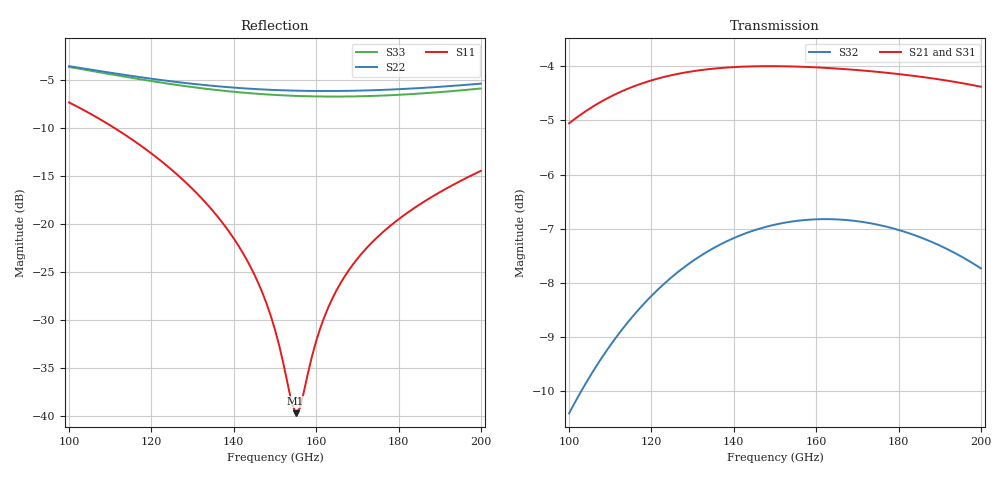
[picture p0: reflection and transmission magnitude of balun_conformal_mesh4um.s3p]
! Created with skrf 2.1.0 (http://scikit-rf.org).
# GHz S DB R 50.0
! Port[1] = P1
! Port[2] = P2
! Port[3] = P3
!freq dBS11 angS11 dBS12 angS12 dBS13 angS13
! dBS21 angS21 dBS22 angS22 dBS23 angS23
! dBS31 angS31 dBS32 angS32 dBS33 angS33
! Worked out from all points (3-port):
!   101 points, 100 GHz to 200 GHz, reference 50 ohm
!   strongest paths, dB at 100 GHz, 125 GHz, 150 GHz, 175 GHz, 200 GHz:
!     S21: -5.1, -4.2, -4.0, -4.1, -4.4
!     S31: -5.2, -4.2, -4.0, -4.1, -4.3
!     S32: -10.4, -7.9, -6.9, -6.9, -7.7
!   lowest |S11| = -39.8 dB at 155 GHz (marker M1), VSWR 1.02, Z = 51 - j0.0654 ohm
!   |S11| at or under -10 dB: 110.9 GHz to end of sweep
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100  -7.36 137.0  -5.05 -3.9  -5.16 173.5
     -5.05 -3.9  -3.58 62.6  -10.41 95.3
     -5.16 173.5  -10.41 95.3  -3.66 53.7
115  -11.14 115.4  -4.39 -26.2  -4.47 150.0
     -4.39 -26.2  -4.58 48.5  -8.66 73.6
     -4.47 150.0  -8.66 73.6  -4.78 38.0
133  -17.74 93.2  -4.06 -50.6  -4.11 124.4
     -4.06 -50.6  -5.55 34.0  -7.45 49.6
     -4.11 124.4  -7.45 49.6  -5.92 22.0
143  -23.66 80.1  -4.00 -63.2  -4.04 111.1
     -4.00 -63.2  -5.90 26.7  -7.08 37.1
     -4.04 111.1  -7.08 37.1  -6.37 14.2
150  -31.06 62.5  -4.00 -71.7  -4.03 102.2
     -4.00 -71.7  -6.06 21.8  -6.93 28.7
     -4.03 102.2  -6.93 28.7  -6.58 9.0
155  -39.77 -3.6  -4.00 -77.6  -4.03 96.0
     -4.00 -77.6  -6.13 18.3  -6.86 22.8
     -4.03 96.0  -6.86 22.8  -6.68 5.4
162  -29.71 -85.2  -4.03 -85.8  -4.05 87.4
     -4.03 -85.8  -6.17 13.3  -6.82 14.7
     -4.05 87.4  -6.82 14.7  -6.74 0.3
169  -24.21 -97.6  -4.06 -93.8  -4.08 79.0
     -4.06 -93.8  -6.14 8.3  -6.85 6.7
     -4.08 79.0  -6.85 6.7  -6.73 -4.7
181  -19.22 -107.6  -4.15 -107.4  -4.15 64.7
     -4.15 -107.4  -5.96 -0.6  -7.05 -6.9
     -4.15 64.7  -7.05 -6.9  -6.54 -13.6
200  -14.49 -120.0  -4.38 -129.0  -4.35 42.0
     -4.38 -129.0  -5.40 -15.6  -7.73 -28.3
     -4.35 42.0  -7.73 -28.3  -5.90 -28.7
